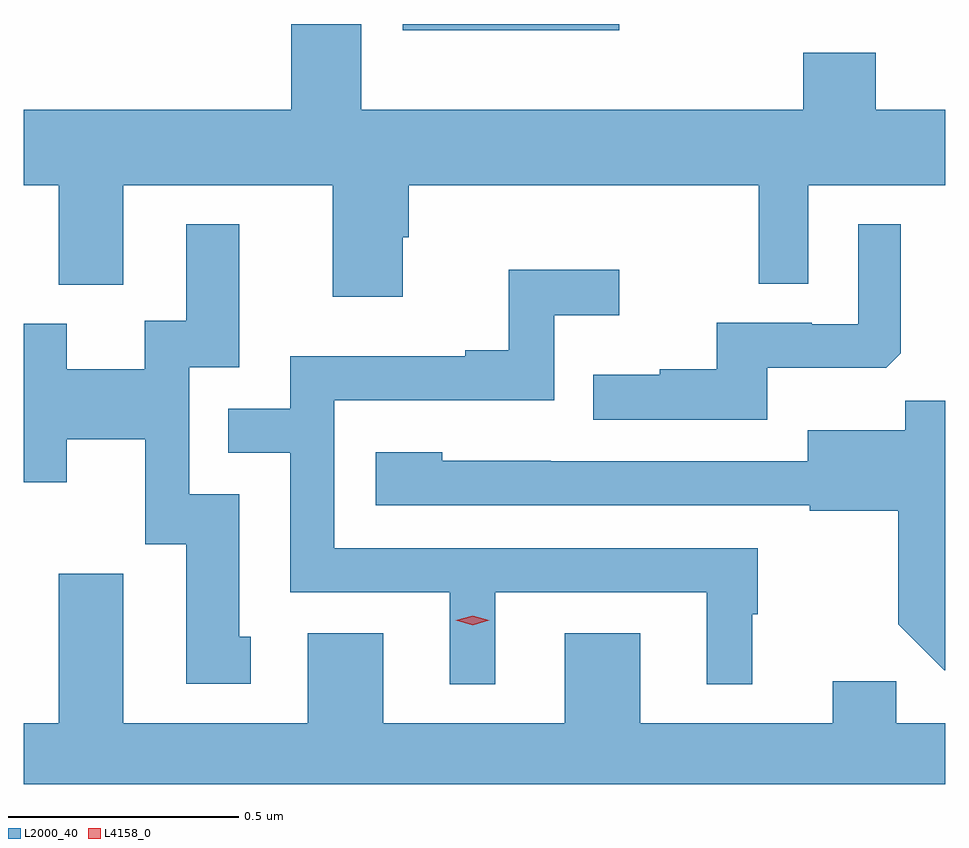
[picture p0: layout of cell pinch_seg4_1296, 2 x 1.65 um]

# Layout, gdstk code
import gdstk
lib = gdstk.Library(unit=1e-6, precision=1e-09)
def R(c, l, rs):  # rectangles x0, y0, x1, y1
    for r in rs: c.add(gdstk.rectangle(r[:2], r[2:], *l))
def P(c, l, *ps):  # polygons
    for p in ps: c.add(gdstk.Polygon(p, *l))
L2000_40 = (2000, 40)
L4158_0 = (4158, 0)

pinch_seg4_1296 = lib.new_cell('pinch_seg4_1296')
R(pinch_seg4_1296, L2000_40, [(179.33,750.536,179.8,750.55)])
P(pinch_seg4_1296, L2000_40, [(179.329,750.087),(179.342,750.087),(179.342,750.2),(180.102,750.2),(180.102,749.986),(180.21,749.986),(180.21,750.2),(180.507,750.2),(180.507,750.364),(180.356,750.364),(180.356,750.488),(180.199,750.488),(180.199,750.364),(179.239,750.364),(179.239,750.55),(179.087,750.55),(179.087,750.364),(178.507,750.364),(178.507,750.2),(178.583,750.2),(178.583,749.984),(178.723,749.984),(178.723,750.2),(179.177,750.2),(179.177,749.958),(179.329,749.958)],
  [(178.999,749.22),(178.975,749.22),(178.975,749.529),(178.866,749.529),(178.866,749.805),(178.975,749.805),(178.975,750.115),(178.859,750.115),(178.859,749.906),(178.769,749.906),(178.769,749.8),(178.6,749.8),(178.6,749.899),(178.507,749.899),(178.507,749.555),(178.6,749.555),(178.6,749.648),(178.77,749.648),(178.77,749.421),(178.859,749.421),(178.859,749.118),(178.999,749.118)],
  [(180.121,749.804),(180.379,749.804),(180.411,749.835),(180.411,750.115),(180.318,750.115),(180.318,749.898),(180.218,749.898),(180.218,749.901),(180.011,749.901),(180.011,749.8),(179.887,749.8),(179.887,749.788),(179.743,749.788),(179.743,749.691),(180.121,749.691)],
  [(179.53,749.316),(179.99,749.316),(179.99,749.117),(180.088,749.117),(180.088,749.268),(180.1,749.268),(180.1,749.412),(179.181,749.412),(179.181,749.733),(179.658,749.733),(179.658,749.918),(179.8,749.918),(179.8,750.017),(179.56,750.017),(179.56,749.842),(179.465,749.842),(179.465,749.829),(179.085,749.829),(179.085,749.715),(178.951,749.715),(178.951,749.619),(179.085,749.619),(179.085,749.316),(179.432,749.316),(179.432,749.117),(179.53,749.117)],
  [(180.507,749.732),(180.42,749.732),(180.42,749.668),(180.209,749.668),(180.209,749.601),(179.651,749.601),(179.651,749.602),(179.415,749.602),(179.415,749.62),(179.271,749.62),(179.271,749.505),(180.213,749.505),(180.213,749.493),(180.405,749.493),(180.405,749.247),(180.505,749.147),(180.507,749.147)],
  [(180.507,749.032),(180.401,749.032),(180.401,749.123),(180.263,749.123),(180.263,749.032),(179.845,749.032),(179.845,749.227),(179.681,749.227),(179.681,749.032),(179.287,749.032),(179.287,749.227),(179.123,749.227),(179.123,749.032),(178.723,749.032),(178.723,749.356),(178.583,749.356),(178.583,749.032),(178.507,749.032),(178.507,748.9),(180.507,748.9)])
P(pinch_seg4_1296, L4158_0, [(179.481,749.245),(179.445,749.255),(179.445,749.255),(179.445,749.256),(179.481,749.265),(179.517,749.256),(179.517,749.255),(179.517,749.255)])

lib.write_gds('pinch_seg4_1296.gds')
